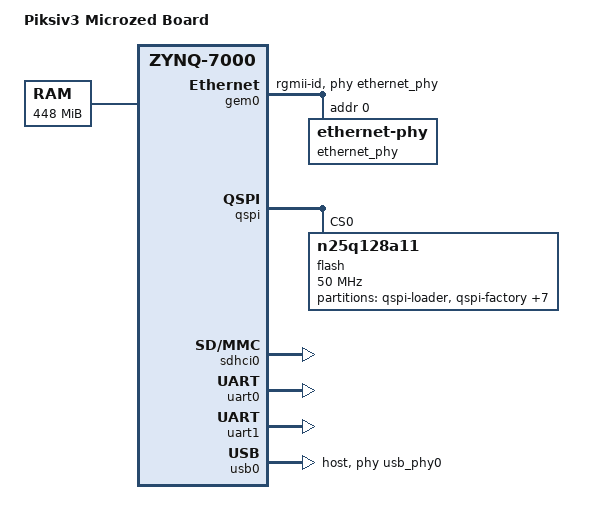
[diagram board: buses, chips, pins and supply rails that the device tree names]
/*
 * Copyright (C) 2016 Swift Navigation Inc.
 * Contact: Jacob McNamee <jacob@swiftnav.com>
 *
 * This source is subject to the license found in the file 'LICENSE' which must
 * be be distributed together with this source. All other rights reserved.
 *
 * THIS CODE AND INFORMATION IS PROVIDED "AS IS" WITHOUT WARRANTY OF ANY KIND,
 * EITHER EXPRESSED OR IMPLIED, INCLUDING BUT NOT LIMITED TO THE IMPLIED
 * WARRANTIES OF MERCHANTABILITY AND/OR FITNESS FOR A PARTICULAR PURPOSE.
 */

/dts-v1/;
#include "piksiv3.dtsi"

/ {
  model = "Piksiv3 Microzed Board";
  compatible = "xlnx,zynq-piksiv3-microzed", "xlnx,zynq-7000";

  aliases {
    ethernet0 = &gem0;
    serial0 = &uart1;
    spi0 = &qspi;
    mmc0 = &sdhci0;
  };

  memory {
    device_type = "memory";
    reg = <0x0 0x1C000000>;
  };

  chosen {
    bootargs = "clk_ignore_unused";
  };

  usb_phy0: phy0 {
    compatible = "ulpi-phy";
    #phy-cells = <0>;
    reg = <0xe0002000 0x1000>;
    view-port = <0x0170>;
    drv-vbus;
  };
};

&clkc {
  ps-clk-frequency = <33333333>;
};

&gem0 {
  status = "okay";
  phy-mode = "rgmii-id";
  phy-handle = <&ethernet_phy>;

  ethernet_phy: ethernet-phy@0 {
    reg = <0>;
  };
};

&qspi {
  status = "okay";
  is-dual = <0>;
  num-cs = <1>;
  flash@0 {
    compatible = "n25q128a11";
    reg = <0x0>;
    spi-tx-bus-width = <1>;
    spi-rx-bus-width = <4>;
    spi-max-frequency = <50000000>;
    #address-cells = <1>;
    #size-cells = <1>;
    partition@qspi-loader {
      label = "qspi-loader";
      reg = <0x0 0x40000>;
      read-only;
    };
    partition@qspi-factory {
      label = "qspi-factory";
      reg = <0x40000 0x80000>;
      read-only;
    };
    partition@qspi-reserved-0 {
      label = "qspi-reserved-0";
      reg = <0xc0000 0x40000>;
    };
    partition@qspi-image-table {
      label = "qspi-image-table";
      reg = <0x100000 0x100000>;
    };
    partition@qspi-spl-table {
      label = "qspi-spl-table";
      reg = <0x200000 0x100000>;
    };
    partition@qspi-img-std-a {
      label = "qspi-img-std-a";
      reg = <0x300000 0x9c0000>;
    };
    partition@qspi-img-std-b {
      label = "qspi-img-std-b";
      reg = <0xcc0000 0x40000>;
    };
    partition@qspi-img-failsafe {
      label = "qspi-img-failsafe";
      reg = <0xd00000 0x100000>;
    };
    partition@qspi-persistent {
      label = "qspi-persistent";
      reg = <0xe00000 0x200000>;
    };
  };
};

&sdhci0 {
  status = "okay";
};

&uart0 {
  status = "okay";
};

&uart1 {
  status = "okay";
};

&usb0 {
  status = "okay";
  dr_mode = "host";
  usb-phy = <&usb_phy0>;
};
